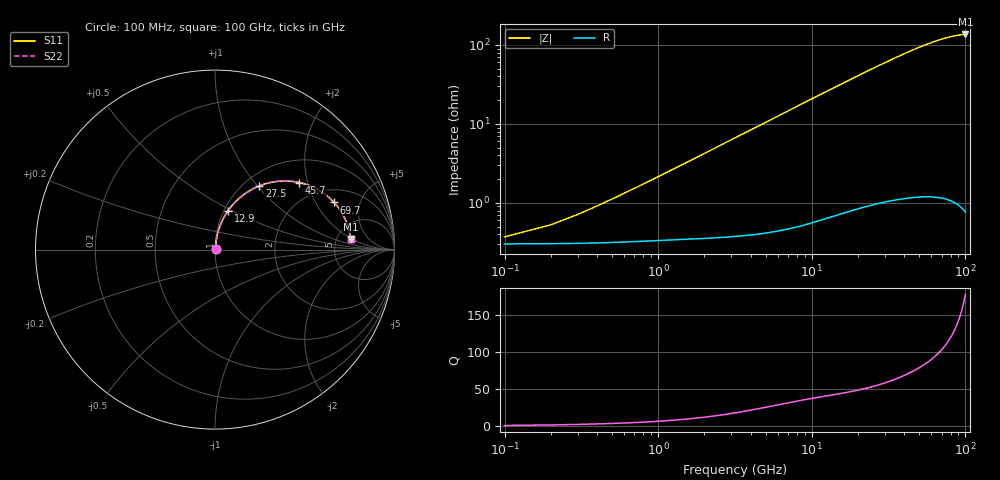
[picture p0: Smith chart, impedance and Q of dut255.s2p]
! Touchstone file exported from HFSS 2026.1.0
!  File:  C:/ffzhzh/LocalFiles/Ansys_Project_Files/temp_train_RDL_255_1783501590_9504.aedt
!  Generated:  05:07:40 PM Jul  8, 2026
!  Design:  RDL
!  Project:  temp_train_RDL_255_1783501590_9504
! Variables:
!  h_bsmrdl = 2um
!  h_ox = 20um
!  h_rdl = 5um
!  h_sub = 80um
!  h_tmrdl = 2.85um
!  h_tsv = 80um
!  h_via = 3um
!  l_bsmrdl = 300um
!  l_sub = 652.42um
!  l_tmrdl = 252.42um
!  m_sub = 200um
!  pitch = 56.81um
!  r_tsv = 6um
!  s_tmrdl = 10um
!  w_bsmrdl = 18um
!  w_sub = 500um
!  w_tmrdl = 10.93um
!  x_tsv_center1 = 257.885um
!  x_tsv_center2 = 575.885um
!  x_tsv_center3 = 839.235um
!  x_tsv_center4 = 1157.235um
!  x_tsv_center5 = 1420.585um
!  x_tsv_center6 = 1738.585um
# GHz S MA R 50.000000
! Terminal data exported
! Port[1] = TM_RDL1_1_T1
! Port[2] = TM_RDL1_1_T2
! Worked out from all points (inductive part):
!   1000 points, 100 MHz to 100 GHz, reference 50 ohm
!   read as one part in series: L = 339 pH near 600 MHz
!   highest Q = 178 at 100 GHz (marker M1), where L = 216 pH
!   S11 on the Smith chart (normalised r, x): 100 MHz: 1.01, +0.00; 12.9 GHz: 1.04, +0.47; 27.5 GHz: 1.17, +1.02; 45.7 GHz: 1.52, +1.78; 69.7 GHz: 2.69, +2.88; 100 GHz: 6.72, +1.89
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0.1  0.00356 32.1  0.997 -0.1  0.997 -0.1  0.00356 32.1
! Gamma 0 0 0 0
! Port Impedance 50 0 50 0
0.4  0.00817 67.2  0.9969 -0.5  0.9969 -0.5  0.00817 67.2
0.7  0.01352 75.3  0.9967 -1.0  0.9967 -1.0  0.01352 75.3
0.9  0.01713 77.7  0.9966 -1.2  0.9966 -1.2  0.01713 77.7
1.1  0.02076 79.2  0.9964 -1.5  0.9964 -1.5  0.02076 79.2
1.4  0.0262 80.6  0.9962 -1.9  0.9962 -1.9  0.0262 80.6
2.2  0.04077 82.0  0.9956 -3.0  0.9956 -3.0  0.04077 82.0
3.4  0.06259 82.0  0.9943 -4.6  0.9943 -4.6  0.06259 82.0
5  0.09149 80.7  0.9917 -6.7  0.9917 -6.7  0.09149 80.7
7.1  0.1288 78.5  0.987 -9.4  0.987 -9.4  0.1288 78.5
9.7  0.1739 75.4  0.9794 -12.8  0.9794 -12.8  0.1739 75.4
12.9  0.2272 71.6  0.9676 -16.9  0.9676 -16.9  0.2272 71.6
16.8  0.2883 66.9  0.9503 -21.6  0.9503 -21.6  0.2883 66.9
21.7  0.3588 61.4  0.9253 -27.3  0.9253 -27.3  0.3588 61.4
27.5  0.4326 55.2  0.8928 -33.7  0.8928 -33.7  0.4326 55.1
33.4  0.4971 49.3  0.8585 -39.7  0.8585 -39.7  0.4971 49.3
45.7  0.6006 38.5  0.7901 -50.7  0.7901 -50.7  0.6006 38.5
50.1  0.6289 35.0  0.7681 -54.2  0.7681 -54.2  0.6289 35.0
66.7  0.7044 23.5  0.7008 -65.8  0.7008 -65.8  0.7044 23.5
69.7  0.7137 21.6  0.6915 -67.7  0.6915 -67.7  0.7138 21.6
83.4  0.744 13.6  0.6597 -75.9  0.6597 -75.9  0.744 13.6
100  0.758 4.5  0.6438 -85.1  0.6438 -85.1  0.758 4.5
